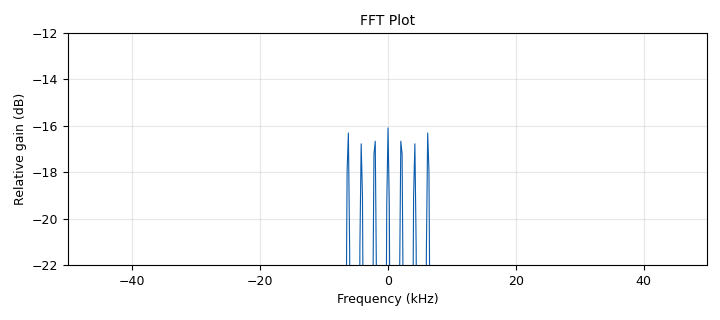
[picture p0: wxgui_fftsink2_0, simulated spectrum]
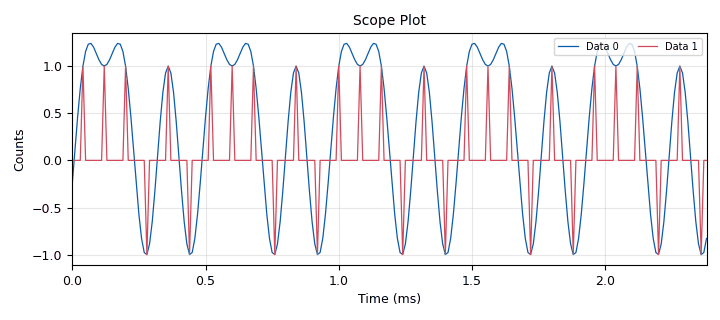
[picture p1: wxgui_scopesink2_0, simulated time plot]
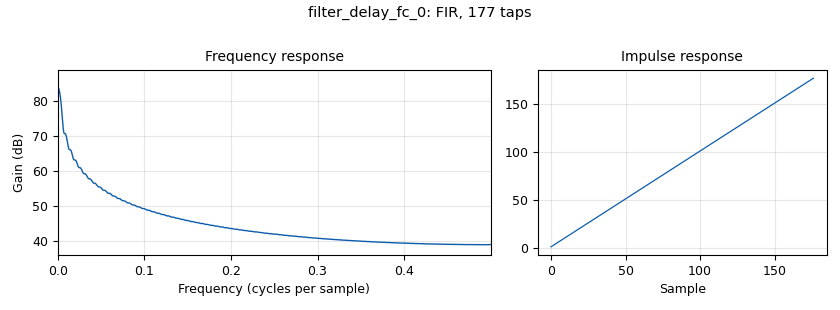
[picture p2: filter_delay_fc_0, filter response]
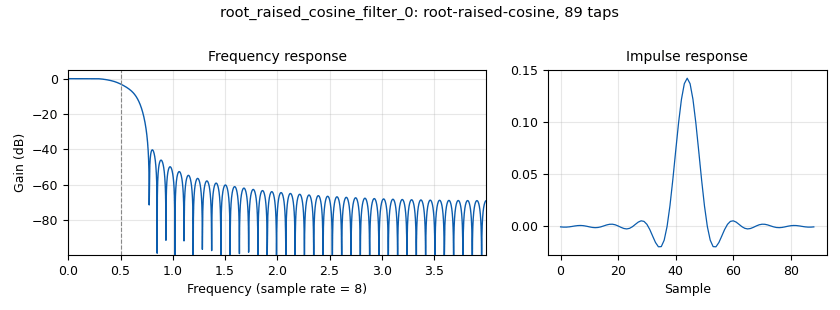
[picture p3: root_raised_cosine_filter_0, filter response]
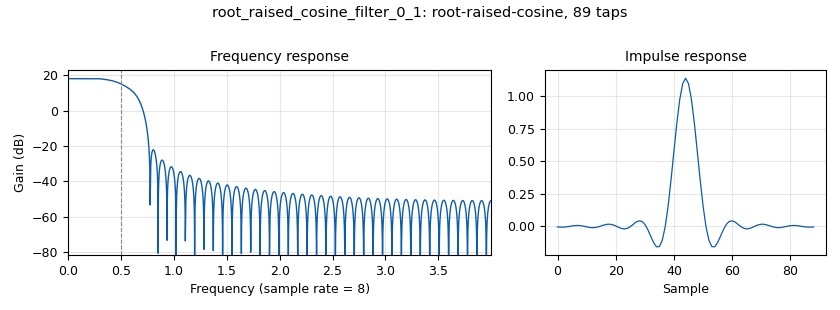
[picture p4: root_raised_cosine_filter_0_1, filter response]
<?xml version='1.0' encoding='utf-8'?>
<?grc format='1' created='3.7.11'?>
<flow_graph>
<block>
<key>options</key>
<param><key>id</key><value>top_block</value></param>
<param><key>category</key><value>Custom</value></param>
<param><key>generate_options</key><value>wx_gui</value></param>
</block>
<block>
<key>variable_slider</key>
<param><key>id</key><value>alpha</value></param>
<param><key>converver</key><value>float_converter</value></param>
<param><key>value</key><value>0.5</value></param>
<param><key>grid_pos</key><value>1,0,1,1</value></param>
<param><key>label</key><value></value></param>
<param><key>max</key><value>5</value></param>
<param><key>min</key><value>0.01</value></param>
<param><key>num_steps</key><value>100</value></param>
<param><key>style</key><value>wx.SL_HORIZONTAL</value></param>
</block>
<block>
<key>variable</key>
<param><key>id</key><value>samp_rate</value></param>
<param><key>value</key><value>100000</value></param>
</block>
<block>
<key>variable</key>
<param><key>id</key><value>sps</value></param>
<param><key>value</key><value>8</value></param>
</block>
<block>
<key>blocks_complex_to_real</key>
<param><key>id</key><value>blocks_complex_to_real_0</value></param>
</block>
<block>
<key>blocks_float_to_complex</key>
<param><key>id</key><value>blocks_float_to_complex_0</value></param>
</block>
<block>
<key>blocks_throttle</key>
<param><key>id</key><value>blocks_throttle_0</value></param>
<param><key>samples_per_second</key><value>samp_rate</value></param>
<param><key>type</key><value>float</value></param>
</block>
<block>
<key>blocks_vector_source_x</key>
<param><key>id</key><value>blocks_vector_source_x_0</value></param>
<param><key>type</key><value>float</value></param>
<param><key>repeat</key><value>True</value></param>
<param><key>vector</key><value>(1,1,-1,1,-1,1 )</value></param>
</block>
<block>
<key>filter_delay_fc</key>
<param><key>id</key><value>filter_delay_fc_0</value></param>
<param><key>taps</key><value>range(1,2*11*sps+2)</value></param>
</block>
<block>
<key>interp_fir_filter_xxx</key>
<param><key>id</key><value>interp_fir_filter_xxx_0</value></param>
<param><key>interp</key><value>8</value></param>
<param><key>taps</key><value>1</value></param>
<param><key>type</key><value>fff</value></param>
</block>
<block>
<key>root_raised_cosine_filter</key>
<param><key>id</key><value>root_raised_cosine_filter_0</value></param>
<param><key>alpha</key><value>alpha</value></param>
<param><key>type</key><value>interp_fir_filter_fff</value></param>
<param><key>gain</key><value>1</value></param>
<param><key>interp</key><value>1</value></param>
<param><key>ntaps</key><value>11*sps</value></param>
<param><key>samp_rate</key><value>sps</value></param>
<param><key>sym_rate</key><value>1.0</value></param>
</block>
<block>
<key>root_raised_cosine_filter</key>
<param><key>id</key><value>root_raised_cosine_filter_0_1</value></param>
<param><key>alpha</key><value>alpha</value></param>
<param><key>type</key><value>interp_fir_filter_fff</value></param>
<param><key>gain</key><value>8</value></param>
<param><key>interp</key><value>1</value></param>
<param><key>ntaps</key><value>11*sps</value></param>
<param><key>samp_rate</key><value>sps</value></param>
<param><key>sym_rate</key><value>1.0</value></param>
</block>
<block>
<key>wxgui_fftsink2</key>
<param><key>id</key><value>wxgui_fftsink2_0</value></param>
<param><key>avg_alpha</key><value>0</value></param>
<param><key>average</key><value>False</value></param>
<param><key>baseband_freq</key><value>0</value></param>
<param><key>fft_size</key><value>500</value></param>
<param><key>freqvar</key><value>None</value></param>
<param><key>grid_pos</key><value>0,0,1,1</value></param>
<param><key>peak_hold</key><value>False</value></param>
<param><key>ref_level</key><value>-12</value></param>
<param><key>ref_scale</key><value>3</value></param>
<param><key>fft_rate</key><value>15</value></param>
<param><key>samp_rate</key><value>samp_rate</value></param>
<param><key>title</key><value>FFT Plot</value></param>
<param><key>type</key><value>complex</value></param>
<param><key>win_size</key><value>450,200</value></param>
<param><key>win</key><value>None</value></param>
<param><key>y_divs</key><value>5</value></param>
<param><key>y_per_div</key><value>2</value></param>
</block>
<block>
<key>wxgui_scopesink2</key>
<param><key>id</key><value>wxgui_scopesink2_0</value></param>
<param><key>ac_couple</key><value>False</value></param>
<param><key>grid_pos</key><value>0,1,1,1</value></param>
<param><key>num_inputs</key><value>2</value></param>
<param><key>samp_rate</key><value>samp_rate</value></param>
<param><key>t_scale</key><value>0</value></param>
<param><key>title</key><value>Scope Plot</value></param>
<param><key>trig_mode</key><value>wxgui.TRIG_MODE_AUTO</value></param>
<param><key>type</key><value>float</value></param>
<param><key>v_offset</key><value>0</value></param>
<param><key>v_scale</key><value>0</value></param>
<param><key>win_size</key><value>450,200</value></param>
<param><key>xy_mode</key><value>False</value></param>
<param><key>y_axis_label</key><value>Counts</value></param>
</block>
<connection><source_block_id>blocks_complex_to_real_0</source_block_id><sink_block_id>wxgui_scopesink2_0</sink_block_id><source_key>0</source_key><sink_key>1</sink_key></connection>
<connection><source_block_id>blocks_float_to_complex_0</source_block_id><sink_block_id>wxgui_fftsink2_0</sink_block_id><source_key>0</source_key><sink_key>0</sink_key></connection>
<connection><source_block_id>blocks_throttle_0</source_block_id><sink_block_id>filter_delay_fc_0</sink_block_id><source_key>0</source_key><sink_key>0</sink_key></connection>
<connection><source_block_id>blocks_throttle_0</source_block_id><sink_block_id>root_raised_cosine_filter_0_1</sink_block_id><source_key>0</source_key><sink_key>0</sink_key></connection>
<connection><source_block_id>blocks_vector_source_x_0</source_block_id><sink_block_id>interp_fir_filter_xxx_0</sink_block_id><source_key>0</source_key><sink_key>0</sink_key></connection>
<connection><source_block_id>filter_delay_fc_0</source_block_id><sink_block_id>blocks_complex_to_real_0</sink_block_id><source_key>0</source_key><sink_key>0</sink_key></connection>
<connection><source_block_id>interp_fir_filter_xxx_0</source_block_id><sink_block_id>blocks_throttle_0</sink_block_id><source_key>0</source_key><sink_key>0</sink_key></connection>
<connection><source_block_id>root_raised_cosine_filter_0</source_block_id><sink_block_id>blocks_float_to_complex_0</sink_block_id><source_key>0</source_key><sink_key>0</sink_key></connection>
<connection><source_block_id>root_raised_cosine_filter_0</source_block_id><sink_block_id>wxgui_scopesink2_0</sink_block_id><source_key>0</source_key><sink_key>0</sink_key></connection>
<connection><source_block_id>root_raised_cosine_filter_0_1</source_block_id><sink_block_id>root_raised_cosine_filter_0</sink_block_id><source_key>0</source_key><sink_key>0</sink_key></connection>
</flow_graph>
